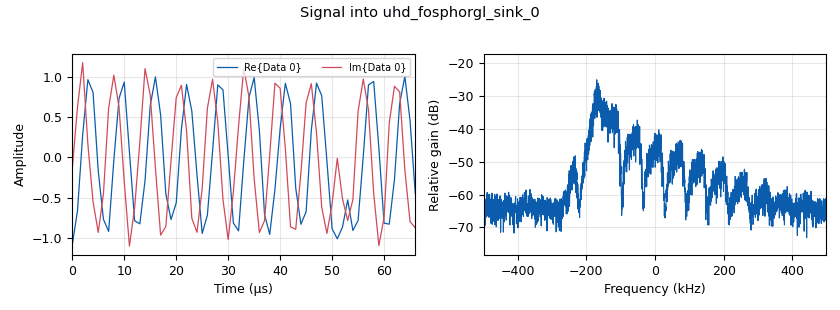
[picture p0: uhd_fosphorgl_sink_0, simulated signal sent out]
options:
  parameters:
    generate_options: qt_gui
    id: foo
    output_language: python
    title: Not titled yet
  states: {}

blocks:
- name: samp_rate
  id: variable
  parameters:
    value: int(1e6)
  states: {}
- name: analog_fastnoise_source_x_0
  id: analog_fastnoise_source_x
  parameters:
    amp: '.1'
    noise_type: analog.GR_GAUSSIAN
    samples: '8192'
    seed: '0'
    type: complex
  states: {}
- name: analog_random_source_x_0
  id: analog_random_source_x
  parameters:
    max: '2'
    min: '0'
    num_samps: '1000'
    repeat: 'True'
    type: byte
  states: {}
- name: blocks_add_xx_0
  id: blocks_add_xx
  parameters:
    type: complex
  states: {}
- name: blocks_multiply_xx_0
  id: blocks_multiply_xx
  parameters:
    comment: |-
      This will generate a GFSK Signal that turns
      on and off on a recurring basis.
    type: complex
  states: {}
- name: blocks_throttle2_0
  id: blocks_throttle2
  parameters:
    samples_per_second: samp_rate
    type: complex
  states: {}
- name: blocks_vector_source_x_0
  id: blocks_vector_source_x
  parameters:
    repeat: 'True'
    type: complex
    vector: (1,) * int(1e6) + (0,) * int(1e6)
  states: {}
- name: digital_gfsk_mod_0
  id: digital_gfsk_mod
  parameters:
    bt: '0.35'
    samples_per_symbol: '2'
    sensitivity: '1.0'
  states: {}
- name: uhd_fosphorgl_sink_0
  id: uhd_fosphorgl_sink
  parameters:
    alpha: '0.1'
    center_freq: '0.0'
    epsilon: '0.99'
    frame_rate: '30'
    grid_enabled: 'True'
    histo_decim: '64'
    input_decim: '1'
    palette: iron
    samp_rate: samp_rate
    scale: '2.0'
    tdecay: '1024.0'
    trise: '16.0'
    wf_decim: '16'
    wf_lines: '512'
  states: {}

connections:
- [analog_fastnoise_source_x_0, '0', blocks_add_xx_0, '1']
- [analog_random_source_x_0, '0', digital_gfsk_mod_0, '0']
- [blocks_add_xx_0, '0', blocks_throttle2_0, '0']
- [blocks_multiply_xx_0, '0', blocks_add_xx_0, '0']
- [blocks_throttle2_0, '0', uhd_fosphorgl_sink_0, '0']
- [blocks_vector_source_x_0, '0', blocks_multiply_xx_0, '0']
- [digital_gfsk_mod_0, '0', blocks_multiply_xx_0, '1']

metadata:
  file_format: 1
  grc_version: v3.11.0.0git-459-g562605c2
